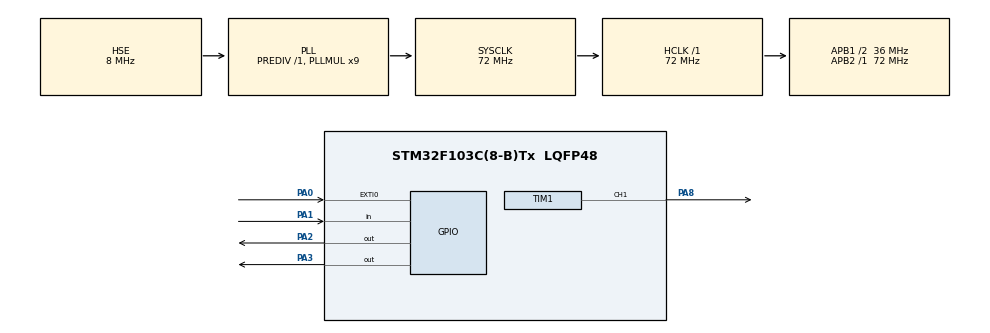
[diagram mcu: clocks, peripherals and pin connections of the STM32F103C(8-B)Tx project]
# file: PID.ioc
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Mcu.Family=STM32F1
Mcu.Name=STM32F103C(8-B)Tx
Mcu.Package=LQFP48
NVIC.EXTI0_IRQn=true\:0\:0\:false\:false\:true\:true\:true\:true
NVIC.PriorityGroup=NVIC_PRIORITYGROUP_4
NVIC.TIM2_IRQn=true\:0\:0\:false\:false\:true\:true\:true\:true
PA0-WKUP.GPIO_ModeDefaultEXTI=GPIO_MODE_IT_FALLING
PA0-WKUP.Signal=GPXTI0
PA1.Signal=GPIO_Input
PA13.Mode=Serial_Wire
PA13.Signal=SYS_JTMS-SWDIO
PA14.Mode=Serial_Wire
PA14.Signal=SYS_JTCK-SWCLK
PA2.Signal=GPIO_Output
PA3.Signal=GPIO_Output
PA8.Signal=S_TIM1_CH1
PD0-OSC_IN.Mode=HSE-External-Oscillator
PD0-OSC_IN.Signal=RCC_OSC_IN
PD1-OSC_OUT.Mode=HSE-External-Oscillator
PD1-OSC_OUT.Signal=RCC_OSC_OUT
ProjectManager.HeapSize=0x200
ProjectManager.StackSize=0x400
ProjectManager.TargetToolchain=MDK-ARM V5.32
RCC.AHBFreq_Value=72000000
RCC.APB1CLKDivider=RCC_HCLK_DIV2
RCC.APB1Freq_Value=36000000
RCC.APB1TimFreq_Value=72000000
RCC.APB2Freq_Value=72000000
RCC.APB2TimFreq_Value=72000000
RCC.HCLKFreq_Value=72000000
RCC.PLLMUL=RCC_PLL_MUL9
RCC.PLLSourceVirtual=RCC_PLLSOURCE_HSE
RCC.SYSCLKFreq_VALUE=72000000
RCC.SYSCLKSource=RCC_SYSCLKSOURCE_PLLCLK
RCC.USBFreq_Value=72000000
SH.S_TIM1_CH1.0=TIM1_CH1,PWM Generation1 CH1
TIM1.Channel-PWM\ Generation1\ CH1=TIM_CHANNEL_1
TIM1.Period=1000-1
TIM1.Prescaler=72-1
TIM2.Period=10000-1
TIM2.Prescaler=72-1
VP_TIM1_VS_ClockSourceINT.Mode=Internal
VP_TIM2_VS_ClockSourceINT.Mode=Internal
board=custom

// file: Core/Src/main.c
/* USER CODE BEGIN Header */
/**
  ******************************************************************************
  * @file           : main.c
  * @brief          : Main program body
  ******************************************************************************
  * @attention
  *
  * Copyright (c) 2025 STMicroelectronics.
  * All rights reserved.
  *
  * This software is licensed under terms that can be found in the LICENSE file
  * in the root directory of this software component.
  * If no LICENSE file comes with this software, it is provided AS-IS.
  *
  ******************************************************************************
  */
/* USER CODE END Header */
#include "main.h"

TIM_HandleTypeDef htim1;
TIM_HandleTypeDef htim2;

void SystemClock_Config(void);
static void MX_GPIO_Init(void);
static void MX_TIM1_Init(void);
static void MX_TIM2_Init(void);
/* USER CODE BEGIN PFP */
#include "stdio.h"
#include "string.h"

int count;
int pre_pulse, pulse;
int setpoint = 225;
float pre_error, error;
float integral, derivative, duty_cycle_output;
float Kp = 10, Ki = 0.5, Kd = 0.5;
float delta_t = 0.01;

/* USER CODE END PFP */

/* USER CODE BEGIN 0 */

//=============GENERATE PWM SIGNAL BY TIMER 1=============//

void Generate_PWM(TIM_HandleTypeDef *htim, uint32_t Channel, float Duty_Cycle)
{
	Duty_Cycle = Duty_Cycle / 100 * htim->Instance->ARR;
	__HAL_TIM_SET_COMPARE(&htim1, Channel, (uint16_t)Duty_Cycle);
}

//=============CONTROL POSITION=============//

void Control_Forward()
{
	HAL_GPIO_WritePin(GPIOA, GPIO_PIN_2, 0);
	HAL_GPIO_WritePin(GPIOA, GPIO_PIN_3, 1);
	HAL_GPIO_WritePin(GPIOA, GPIO_PIN_8, 1);
}

void Control_Reverse()
{
	HAL_GPIO_WritePin(GPIOA, GPIO_PIN_2, 1);
	HAL_GPIO_WritePin(GPIOA, GPIO_PIN_3, 0);
	HAL_GPIO_WritePin(GPIOA, GPIO_PIN_8, 1);
}

void Control_Stop()
{
	HAL_GPIO_WritePin(GPIOA, GPIO_PIN_2, 0);
	HAL_GPIO_WritePin(GPIOA, GPIO_PIN_3, 0);
	HAL_GPIO_WritePin(GPIOA, GPIO_PIN_8, 0);
}

void Control_Position()
{
	if (duty_cycle_output > 0)
	{
		Control_Forward();
		Generate_PWM(&htim1, TIM_CHANNEL_1, duty_cycle_output);
	}

	if (duty_cycle_output < 0)
	{
		Control_Reverse();
		Generate_PWM(&htim1, TIM_CHANNEL_1, - duty_cycle_output);
	}

	if (duty_cycle_output == 0)
	{
		Control_Stop();
		Generate_PWM(&htim1, TIM_CHANNEL_1, duty_cycle_output);
	}
}

//=============ENCODER PULSE COUNTING=============//

void HAL_GPIO_EXTI_Callback(uint16_t GPIO_Pin)
{
	if (HAL_GPIO_ReadPin(GPIOA, GPIO_PIN_1) == 0)
	{
		pulse++;
	}
	else
	{
		pulse--;
	}
}

//=============PID CACULATION=============//

void HAL_TIM_PeriodElapsedCallback(TIM_HandleTypeDef *htim)
{
	if (htim == &htim2)
	{
		error = setpoint - pulse;
		integral = integral + (error * delta_t);
		derivative = (error - pre_error) / delta_t;
		duty_cycle_output = 	(Kp * error) + (Ki * integral) + (Kd * derivative);
	}

	if (duty_cycle_output > 100)
	{
		duty_cycle_output = 100;
	}

	if (duty_cycle_output < -100)
	{
		duty_cycle_output = -100;
	}

	pre_error = error;

	Control_Position();
}

/* USER CODE END 0 */

int main(void)
{

  /* MCU Configuration--------------------------------------------------------*/

  /* Reset of all peripherals, Initializes the Flash interface and the Systick. */
  HAL_Init();

  /* Configure the system clock */
  SystemClock_Config();

  /* Initialize all configured peripherals */
  MX_GPIO_Init();
  MX_TIM1_Init();
  MX_TIM2_Init();
  /* USER CODE BEGIN 2 */
	HAL_TIM_PWM_Start(&htim1, TIM_CHANNEL_1);

	HAL_TIM_Base_Start_IT(&htim2);												//Active interupt for timer2

  /* USER CODE END 2 */

  /* Infinite loop */
  while (1)
  {

  }
}

void SystemClock_Config(void)
{
  RCC_OscInitTypeDef RCC_OscInitStruct = {0};
  RCC_ClkInitTypeDef RCC_ClkInitStruct = {0};

  /** Initializes the RCC Oscillators according to the specified parameters
  * in the RCC_OscInitTypeDef structure.
  */
  RCC_OscInitStruct.OscillatorType = RCC_OSCILLATORTYPE_HSE;
  RCC_OscInitStruct.HSEState = RCC_HSE_ON;
  RCC_OscInitStruct.HSEPredivValue = RCC_HSE_PREDIV_DIV1;
  RCC_OscInitStruct.HSIState = RCC_HSI_ON;
  RCC_OscInitStruct.PLL.PLLState = RCC_PLL_ON;
  RCC_OscInitStruct.PLL.PLLSource = RCC_PLLSOURCE_HSE;
  RCC_OscInitStruct.PLL.PLLMUL = RCC_PLL_MUL9;
  if (HAL_RCC_OscConfig(&RCC_OscInitStruct) != HAL_OK)
  {
    Error_Handler();
  }

  /** Initializes the CPU, AHB and APB buses clocks
  */
  RCC_ClkInitStruct.ClockType = RCC_CLOCKTYPE_HCLK|RCC_CLOCKTYPE_SYSCLK
                              |RCC_CLOCKTYPE_PCLK1|RCC_CLOCKTYPE_PCLK2;
  RCC_ClkInitStruct.SYSCLKSource = RCC_SYSCLKSOURCE_PLLCLK;
  RCC_ClkInitStruct.AHBCLKDivider = RCC_SYSCLK_DIV1;
  RCC_ClkInitStruct.APB1CLKDivider = RCC_HCLK_DIV2;
  RCC_ClkInitStruct.APB2CLKDivider = RCC_HCLK_DIV1;

  if (HAL_RCC_ClockConfig(&RCC_ClkInitStruct, FLASH_LATENCY_2) != HAL_OK)
  {
    Error_Handler();
  }
}

static void MX_TIM1_Init(void)
{

  TIM_ClockConfigTypeDef sClockSourceConfig = {0};
  TIM_MasterConfigTypeDef sMasterConfig = {0};
  TIM_OC_InitTypeDef sConfigOC = {0};
  TIM_BreakDeadTimeConfigTypeDef sBreakDeadTimeConfig = {0};

  htim1.Instance = TIM1;
  htim1.Init.Prescaler = 72-1;
  htim1.Init.CounterMode = TIM_COUNTERMODE_UP;
  htim1.Init.Period = 1000-1;
  htim1.Init.ClockDivision = TIM_CLOCKDIVISION_DIV1;
  htim1.Init.RepetitionCounter = 0;
  htim1.Init.AutoReloadPreload = TIM_AUTORELOAD_PRELOAD_DISABLE;
  if (HAL_TIM_Base_Init(&htim1) != HAL_OK)
  {
    Error_Handler();
  }
  sClockSourceConfig.ClockSource = TIM_CLOCKSOURCE_INTERNAL;
  if (HAL_TIM_ConfigClockSource(&htim1, &sClockSourceConfig) != HAL_OK)
  {
    Error_Handler();
  }
  if (HAL_TIM_PWM_Init(&htim1) != HAL_OK)
  {
    Error_Handler();
  }
  sMasterConfig.MasterOutputTrigger = TIM_TRGO_RESET;
  sMasterConfig.MasterSlaveMode = TIM_MASTERSLAVEMODE_DISABLE;
  if (HAL_TIMEx_MasterConfigSynchronization(&htim1, &sMasterConfig) != HAL_OK)
  {
    Error_Handler();
  }
  sConfigOC.OCMode = TIM_OCMODE_PWM1;
  sConfigOC.Pulse = 0;
  sConfigOC.OCPolarity = TIM_OCPOLARITY_HIGH;
  sConfigOC.OCNPolarity = TIM_OCNPOLARITY_HIGH;
  sConfigOC.OCFastMode = TIM_OCFAST_DISABLE;
  sConfigOC.OCIdleState = TIM_OCIDLESTATE_RESET;
  sConfigOC.OCNIdleState = TIM_OCNIDLESTATE_RESET;
  if (HAL_TIM_PWM_ConfigChannel(&htim1, &sConfigOC, TIM_CHANNEL_1) != HAL_OK)
  {
    Error_Handler();
  }
  sBreakDeadTimeConfig.OffStateRunMode = TIM_OSSR_DISABLE;
  sBreakDeadTimeConfig.OffStateIDLEMode = TIM_OSSI_DISABLE;
  sBreakDeadTimeConfig.LockLevel = TIM_LOCKLEVEL_OFF;
  sBreakDeadTimeConfig.DeadTime = 0;
  sBreakDeadTimeConfig.BreakState = TIM_BREAK_DISABLE;
  sBreakDeadTimeConfig.BreakPolarity = TIM_BREAKPOLARITY_HIGH;
  sBreakDeadTimeConfig.AutomaticOutput = TIM_AUTOMATICOUTPUT_DISABLE;
  if (HAL_TIMEx_ConfigBreakDeadTime(&htim1, &sBreakDeadTimeConfig) != HAL_OK)
  {
    Error_Handler();
  }
  HAL_TIM_MspPostInit(&htim1);

}

static void MX_TIM2_Init(void)
{

  TIM_ClockConfigTypeDef sClockSourceConfig = {0};
  TIM_MasterConfigTypeDef sMasterConfig = {0};

  htim2.Instance = TIM2;
  htim2.Init.Prescaler = 72-1;
  htim2.Init.CounterMode = TIM_COUNTERMODE_UP;
  htim2.Init.Period = 10000-1;
  htim2.Init.ClockDivision = TIM_CLOCKDIVISION_DIV1;
  htim2.Init.AutoReloadPreload = TIM_AUTORELOAD_PRELOAD_DISABLE;
  if (HAL_TIM_Base_Init(&htim2) != HAL_OK)
  {
    Error_Handler();
  }
  sClockSourceConfig.ClockSource = TIM_CLOCKSOURCE_INTERNAL;
  if (HAL_TIM_ConfigClockSource(&htim2, &sClockSourceConfig) != HAL_OK)
  {
    Error_Handler();
  }
  sMasterConfig.MasterOutputTrigger = TIM_TRGO_RESET;
  sMasterConfig.MasterSlaveMode = TIM_MASTERSLAVEMODE_DISABLE;
  if (HAL_TIMEx_MasterConfigSynchronization(&htim2, &sMasterConfig) != HAL_OK)
  {
    Error_Handler();
  }

}

static void MX_GPIO_Init(void)
{
  GPIO_InitTypeDef GPIO_InitStruct = {0};

  /* GPIO Ports Clock Enable */
  __HAL_RCC_GPIOD_CLK_ENABLE();
  __HAL_RCC_GPIOA_CLK_ENABLE();

  /*Configure GPIO pin Output Level */
  HAL_GPIO_WritePin(GPIOA, GPIO_PIN_2|GPIO_PIN_3, GPIO_PIN_RESET);

  /*Configure GPIO pin : PA0 */
  GPIO_InitStruct.Pin = GPIO_PIN_0;
  GPIO_InitStruct.Mode = GPIO_MODE_IT_FALLING;
  GPIO_InitStruct.Pull = GPIO_NOPULL;
  HAL_GPIO_Init(GPIOA, &GPIO_InitStruct);

  /*Configure GPIO pin : PA1 */
  GPIO_InitStruct.Pin = GPIO_PIN_1;
  GPIO_InitStruct.Mode = GPIO_MODE_INPUT;
  GPIO_InitStruct.Pull = GPIO_NOPULL;
  HAL_GPIO_Init(GPIOA, &GPIO_InitStruct);

  /*Configure GPIO pins : PA2 PA3 */
  GPIO_InitStruct.Pin = GPIO_PIN_2|GPIO_PIN_3;
  GPIO_InitStruct.Mode = GPIO_MODE_OUTPUT_PP;
  GPIO_InitStruct.Pull = GPIO_NOPULL;
  GPIO_InitStruct.Speed = GPIO_SPEED_FREQ_LOW;
  HAL_GPIO_Init(GPIOA, &GPIO_InitStruct);

  /* EXTI interrupt init*/
  HAL_NVIC_SetPriority(EXTI0_IRQn, 0, 0);
  HAL_NVIC_EnableIRQ(EXTI0_IRQn);

}

void Error_Handler(void)
{
  __disable_irq();
  while (1)
  {
  }
}
